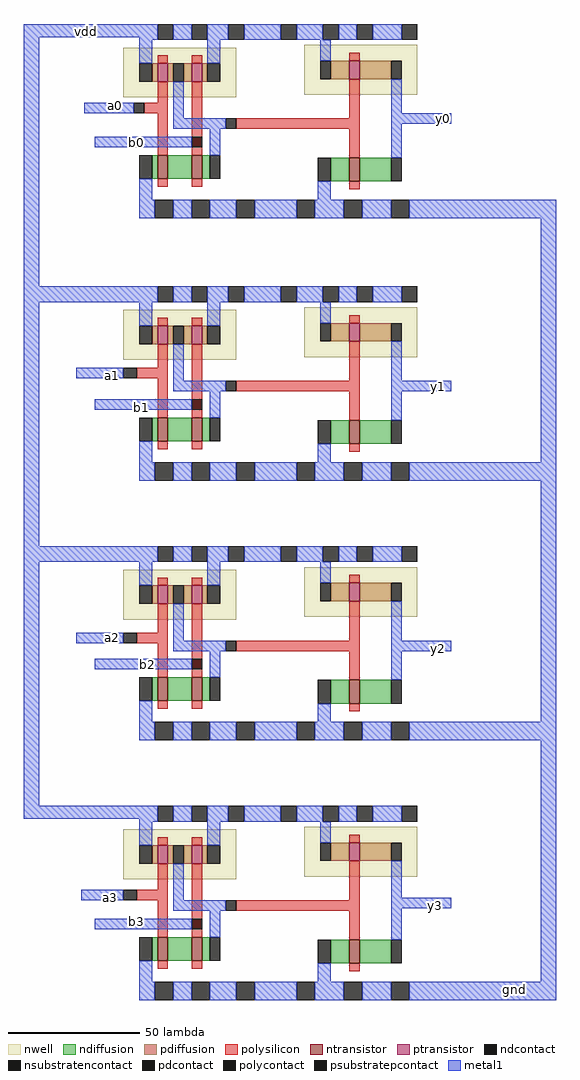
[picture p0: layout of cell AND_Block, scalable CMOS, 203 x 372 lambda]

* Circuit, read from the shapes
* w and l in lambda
.subckt AND_Block a0 a1 a2 a3 b0 b1 b2 b3 gnd vdd y0 y1 y2 y3
M1 n1 a3 gnd gnd nfet w=9 l=4
M2 n2 a2 gnd gnd nfet w=9 l=4
M3 n3 a1 gnd gnd nfet w=9 l=4
M4 n4 a0 gnd gnd nfet w=9 l=4
M5 n5 b3 n1 gnd nfet w=9 l=4
M6 n6 b2 n2 gnd nfet w=9 l=4
M7 n7 b1 n3 gnd nfet w=9 l=4
M8 n8 b0 n4 gnd nfet w=9 l=4
M9 y3 n5 gnd gnd nfet w=9 l=4
M10 y2 n6 gnd gnd nfet w=9 l=4
M11 y1 n7 gnd gnd nfet w=9 l=4
M12 y0 n8 gnd gnd nfet w=9 l=4
M13 n5 a3 vdd n9 pfet w=7 l=4
M14 n6 a2 vdd n10 pfet w=7 l=4
M15 n7 a1 vdd n11 pfet w=7 l=4
M16 n8 a0 vdd n12 pfet w=7 l=4
M17 vdd b3 n5 n9 pfet w=7 l=4
M18 vdd b2 n6 n10 pfet w=7 l=4
M19 vdd b1 n7 n11 pfet w=7 l=4
M20 vdd b0 n8 n12 pfet w=7 l=4
M21 y3 n5 vdd n13 pfet w=7 l=4
M22 y2 n6 vdd n14 pfet w=7 l=4
M23 y1 n7 vdd n15 pfet w=7 l=4
M24 y0 n8 vdd n16 pfet w=7 l=4
.ends

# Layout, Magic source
magic
tech scmos
<< polysilicon >>
rect 3 88 12 92
rect 0 -13 12 -9
rect 0 -114 12 -110
rect 0 -212 12 -208
<< polycontact >>
rect -1 88 3 92
rect 21 75 25 79
rect -5 -13 0 -9
rect 21 -25 25 -21
rect -5 -114 0 -110
rect 21 -124 25 -120
rect -5 -212 0 -208
rect 21 -223 25 -219
<< metal1 >>
rect -43 117 5 122
rect -43 22 -37 117
rect -20 88 -1 92
rect 97 84 120 88
rect -16 75 21 79
rect 112 48 160 55
rect -43 16 3 22
rect -43 -77 -37 16
rect -23 -13 -5 -9
rect 97 -18 120 -14
rect -16 -25 21 -21
rect 154 -45 160 48
rect 112 -52 160 -45
rect -43 -83 6 -77
rect -43 -176 -37 -83
rect -23 -114 -5 -110
rect 97 -117 120 -113
rect -16 -124 21 -120
rect 154 -144 160 -52
rect 111 -151 160 -144
rect -43 -181 4 -176
rect -21 -212 -5 -208
rect 97 -215 120 -211
rect -16 -223 21 -219
rect 154 -243 160 -151
rect 111 -250 160 -243
use and  and_3
transform 1 0 38 0 1 -212
box -43 -38 74 36
use and  and_2
transform 1 0 38 0 1 -113
box -43 -38 74 36
use and  and_1
transform 1 0 38 0 1 -14
box -43 -38 74 36
use and  and_0
transform 1 0 38 0 1 86
box -43 -38 74 36
<< labels >>
rlabel metal1 -8 91 -8 91 1 a0
rlabel metal1 0 77 0 77 1 b0
rlabel metal1 -9 -12 -9 -12 1 a1
rlabel metal1 2 -24 2 -24 1 b1
rlabel metal1 -9 -112 -9 -112 1 a2
rlabel metal1 4 -122 4 -122 1 b2
rlabel metal1 -10 -211 -10 -211 1 a3
rlabel metal1 0 -220 0 -220 1 b3
rlabel metal1 117 86 117 86 7 y0
rlabel metal1 115 -16 115 -16 7 y1
rlabel metal1 115 -116 115 -116 7 y2
rlabel metal1 114 -214 114 -214 1 y3
rlabel metal1 -19 119 -19 119 5 vdd
rlabel metal1 144 -246 144 -246 1 gnd
<< end >>

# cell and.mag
magic
tech scmos
<< nwell >>
rect -43 8 0 27
rect 26 9 69 28
<< ntransistor >>
rect -30 -23 -26 -14
rect -17 -23 -13 -14
rect 43 -24 47 -15
<< ptransistor >>
rect -30 14 -26 21
rect -17 14 -13 21
rect 43 15 47 22
<< ndiffusion >>
rect -32 -23 -30 -14
rect -26 -23 -17 -14
rect -13 -23 -10 -14
rect 36 -24 43 -15
rect 47 -24 59 -15
<< pdiffusion >>
rect -32 14 -30 21
rect -26 14 -24 21
rect -20 14 -17 21
rect -13 14 -11 21
rect 36 15 43 22
rect 47 15 59 22
<< ndcontact >>
rect -37 -23 -32 -14
rect -10 -23 -6 -14
rect 31 -24 36 -15
rect 59 -24 63 -15
<< pdcontact >>
rect -37 14 -32 21
rect -24 14 -20 21
rect -11 14 -6 21
rect 32 15 36 22
rect 59 15 63 22
<< psubstratepcontact >>
rect -31 -38 -24 -31
rect -17 -38 -10 -31
rect 0 -38 7 -31
rect 23 -38 30 -31
rect 41 -38 48 -31
rect 59 -38 66 -31
<< nsubstratencontact >>
rect -30 30 -24 36
rect -17 30 -11 36
rect -3 30 3 36
rect 17 30 23 36
rect 33 30 39 36
rect 46 30 52 36
rect 63 30 69 36
<< polysilicon >>
rect -30 21 -26 24
rect -17 21 -13 24
rect 43 22 47 25
rect -30 -14 -26 14
rect -17 -14 -13 14
rect 43 0 47 15
rect 0 -4 47 0
rect 43 -15 47 -4
rect -30 -26 -26 -23
rect -17 -26 -13 -23
rect 43 -27 47 -24
<< polycontact >>
rect -4 -4 0 0
<< metal1 >>
rect -37 30 -30 36
rect -24 30 -17 36
rect -11 30 -3 36
rect 3 30 17 36
rect 23 30 33 36
rect 39 30 46 36
rect 52 30 63 36
rect -37 21 -32 30
rect -11 21 -6 30
rect 32 22 36 30
rect -24 0 -20 14
rect -24 -4 -4 0
rect -10 -14 -6 -4
rect 59 -15 63 15
rect -37 -31 -32 -23
rect 31 -31 36 -24
rect -37 -38 -31 -31
rect -24 -38 -17 -31
rect -10 -38 0 -31
rect 7 -38 23 -31
rect 30 -38 41 -31
rect 48 -38 59 -31
rect 66 -38 74 -31
<< labels >>
rlabel metal1 -33 32 -32 33 5 vdd
rlabel metal1 -34 -35 -33 -34 1 gnd
rlabel polysilicon -29 -4 -28 -3 1 a
rlabel polysilicon -15 2 -14 3 1 b
rlabel metal1 61 -2 62 -1 1 y
<< end >>
